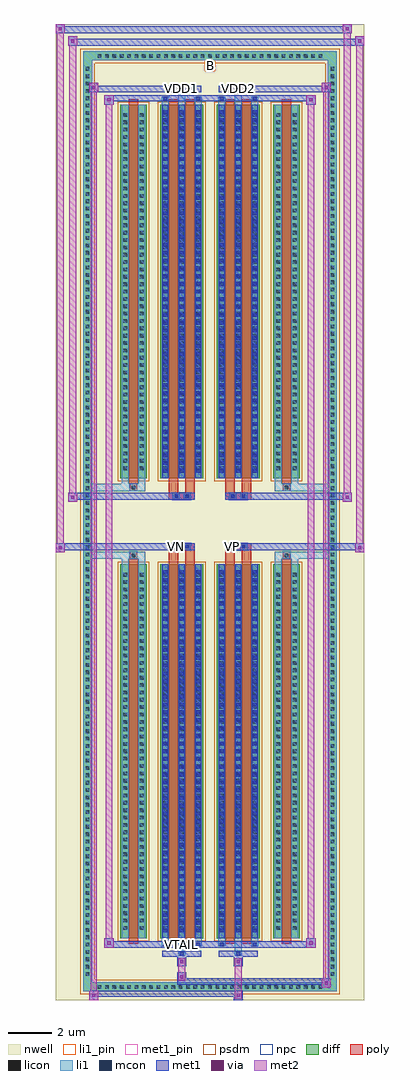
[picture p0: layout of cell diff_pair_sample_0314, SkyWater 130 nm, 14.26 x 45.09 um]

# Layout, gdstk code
import gdstk
lib = gdstk.Library(unit=1e-6, precision=5e-09)
def R(c, l, rs):  # rectangles x0, y0, x1, y1
    for r in rs: c.add(gdstk.rectangle(r[:2], r[2:], *l))
def A(c, l, x, y, w, h, nx, ny, dx, dy):  # array of equal rectangles
    R(c, l, [(x+i*dx, y+j*dy, x+i*dx+w, y+j*dy+h) for i in range(nx) for j in range(ny)])
def P(c, l, *ps):  # polygons
    for p in ps: c.add(gdstk.Polygon(p, *l))
nwell = (64, 20)
diff = (65, 20)
poly = (66, 20)
licon = (66, 44)
li1_pin = (67, 16)
li1 = (67, 20)
mcon = (67, 44)
met1_pin = (68, 16)
met1 = (68, 20)
via = (68, 44)
met2 = (69, 20)
psdm = (94, 20)
npc = (95, 20)

diff_pair_sample_0314 = lib.new_cell('diff_pair_sample_0314')
R(diff_pair_sample_0314, nwell, [(-7.13,-22.11,7.13,22.98), (-4.45,-20.3,-0.01,-0.8), (0.01,-20.3,4.45,-0.8), (-4.45,0.8,-0.01,20.3), (0.01,0.8,4.45,20.3)])
A(diff_pair_sample_0314, diff, -5.305, -21.71, 0.41, 0.41, 31, 2, 0.34, 43.01)
A(diff_pair_sample_0314, diff, -5.86, -21.115, 0.41, 0.41, 1, 124, 0, 0.34)
A(diff_pair_sample_0314, diff, 5.45, -21.115, 0.41, 0.41, 1, 124, 0, 0.34)
R(diff_pair_sample_0314, diff, [(-5.305,-21.71,5.305,-21.3), (-5.86,-21.115,-5.45,21.115), (5.45,-21.115,5.86,21.115), (-4.14,-19.255,-2.93,-1.985), (-2.29,-19.255,-0.32,-1.985), (0.32,-19.255,2.29,-1.985), (2.93,-19.255,4.14,-1.985), (-4.14,1.985,-2.93,19.255), (-2.29,1.985,-0.32,19.255), (0.32,1.985,2.29,19.255), (2.93,1.985,4.14,19.255), (-5.305,21.3,5.305,21.71)])
P(diff_pair_sample_0314, diff, [(5.86,21.71),(-5.86,21.71),(-5.86,-21.3),(-5.45,-21.3),(-5.45,21.3),(5.45,21.3),(5.45,-21.3),(-5.45,-21.3),(-5.86,-21.3),(-5.86,-21.71),(5.86,-21.71)])
R(diff_pair_sample_0314, poly, [(-3.75,-19.505,-3.32,-1.735), (-1.9,-19.505,-1.47,-1.735), (-1.14,-19.505,-0.71,-1.735), (0.71,-19.505,1.14,-1.735), (1.47,-19.505,1.9,-1.735), (3.32,-19.505,3.75,-1.735), (-3.7,-1.735,-3.37,-1.405), (-3.7,-1.735,-3.37,-1.405), (-1.9,-1.735,-1.47,-1.33), (-1.14,-1.735,-0.71,-1.33), (0.71,-1.735,1.14,-1.33), (1.47,-1.735,1.9,-1.33), (3.37,-1.735,3.7,-1.405), (3.37,-1.735,3.7,-1.405), (-1.9,-1.33,-0.71,-1), (-1.72,-1.33,-1.39,-1), (-1.22,-1.33,-0.89,-1), (0.71,-1.33,1.9,-1), (0.89,-1.33,1.22,-1), (1.39,-1.33,1.72,-1), (-1.9,1,-0.71,1.33), (-1.72,1,-1.39,1.33), (-1.22,1,-0.89,1.33), (0.71,1,1.9,1.33), (0.89,1,1.22,1.33), (1.39,1,1.72,1.33), (-1.9,1.33,-1.47,1.735), (-1.14,1.33,-0.71,1.735), (0.71,1.33,1.14,1.735), (1.47,1.33,1.9,1.735), (-3.7,1.405,-3.37,1.735), (-3.7,1.405,-3.37,1.735), (3.37,1.405,3.7,1.735), (3.37,1.405,3.7,1.735), (-3.75,1.735,-3.32,19.505), (-1.9,1.735,-1.47,19.505), (-1.14,1.735,-0.71,19.505), (0.71,1.735,1.14,19.505), (1.47,1.735,1.9,19.505), (3.32,1.735,3.75,19.505)])
A(diff_pair_sample_0314, licon, -5.185, -21.59, 0.17, 0.17, 31, 2, 0.34, 43.01)
A(diff_pair_sample_0314, licon, -5.74, -20.995, 0.17, 0.17, 1, 124, 0, 0.34)
A(diff_pair_sample_0314, licon, 5.57, -20.995, 0.17, 0.17, 1, 124, 0, 0.34)
A(diff_pair_sample_0314, licon, -4, -18.865, 0.17, 0.17, 1, 49, 0, 0.34)
A(diff_pair_sample_0314, licon, -3.24, -18.865, 0.17, 0.17, 1, 49, 0, 0.34)
A(diff_pair_sample_0314, licon, -2.15, -18.865, 0.17, 0.17, 3, 49, 0.76, 0.34)
A(diff_pair_sample_0314, licon, 0.46, -18.865, 0.17, 0.17, 3, 49, 0.76, 0.34)
A(diff_pair_sample_0314, licon, 3.07, -18.865, 0.17, 0.17, 1, 49, 0, 0.34)
A(diff_pair_sample_0314, licon, 3.83, -18.865, 0.17, 0.17, 1, 49, 0, 0.34)
A(diff_pair_sample_0314, licon, -4, 2.375, 0.17, 0.17, 1, 49, 0, 0.34)
A(diff_pair_sample_0314, licon, -3.24, 2.375, 0.17, 0.17, 1, 49, 0, 0.34)
A(diff_pair_sample_0314, licon, -2.15, 2.375, 0.17, 0.17, 3, 49, 0.76, 0.34)
A(diff_pair_sample_0314, licon, 0.46, 2.375, 0.17, 0.17, 3, 49, 0.76, 0.34)
A(diff_pair_sample_0314, licon, 3.07, 2.375, 0.17, 0.17, 1, 49, 0, 0.34)
A(diff_pair_sample_0314, licon, 3.83, 2.375, 0.17, 0.17, 1, 49, 0, 0.34)
R(diff_pair_sample_0314, licon, [(-3.62,-1.655,-3.45,-1.485), (3.45,-1.655,3.62,-1.485), (-1.64,-1.25,-1.47,-1.08), (-1.14,-1.25,-0.97,-1.08), (0.97,-1.25,1.14,-1.08), (1.47,-1.25,1.64,-1.08), (-1.64,1.08,-1.47,1.25), (-1.14,1.08,-0.97,1.25), (0.97,1.08,1.14,1.25), (1.47,1.08,1.64,1.25), (-3.62,1.485,-3.45,1.655), (3.45,1.485,3.62,1.655)])
R(diff_pair_sample_0314, li1_pin, [(-0.25,20.8,0.25,21.3)])
A(diff_pair_sample_0314, li1, -5.265, -21.67, 0.33, 0.33, 31, 2, 0.34, 43.01)
A(diff_pair_sample_0314, li1, -5.82, -21.075, 0.33, 0.33, 1, 124, 0, 0.34)
A(diff_pair_sample_0314, li1, 5.49, -21.075, 0.33, 0.33, 1, 124, 0, 0.34)
A(diff_pair_sample_0314, li1, -2.23, -19.255, 0.33, 17.27, 3, 2, 0.76, 21.24)
A(diff_pair_sample_0314, li1, 0.38, -19.255, 0.33, 17.27, 3, 2, 0.76, 21.24)
A(diff_pair_sample_0314, li1, -2.15, -18.985, 0.17, 0.17, 3, 47, 0.76, 0.36)
A(diff_pair_sample_0314, li1, -2.15, -18.985, 0.17, 16.73, 3, 2, 0.76, 21.24)
A(diff_pair_sample_0314, li1, 0.46, -18.985, 0.17, 0.17, 3, 47, 0.76, 0.36)
A(diff_pair_sample_0314, li1, 0.46, -18.985, 0.17, 16.73, 3, 2, 0.76, 21.24)
A(diff_pair_sample_0314, li1, -4.08, -18.945, 0.33, 0.33, 1, 49, 0, 0.34)
A(diff_pair_sample_0314, li1, -3.32, -18.945, 0.33, 0.33, 1, 49, 0, 0.34)
A(diff_pair_sample_0314, li1, -2.23, -18.945, 0.33, 0.33, 3, 49, 0.76, 0.34)
A(diff_pair_sample_0314, li1, 0.38, -18.945, 0.33, 0.33, 3, 49, 0.76, 0.34)
A(diff_pair_sample_0314, li1, 2.99, -18.945, 0.33, 0.33, 1, 49, 0, 0.34)
A(diff_pair_sample_0314, li1, 3.75, -18.945, 0.33, 0.33, 1, 49, 0, 0.34)
A(diff_pair_sample_0314, li1, -2.15, 2.255, 0.17, 0.17, 3, 47, 0.76, 0.36)
A(diff_pair_sample_0314, li1, 0.46, 2.255, 0.17, 0.17, 3, 47, 0.76, 0.36)
A(diff_pair_sample_0314, li1, -4.08, 2.295, 0.33, 0.33, 1, 49, 0, 0.34)
A(diff_pair_sample_0314, li1, -3.32, 2.295, 0.33, 0.33, 1, 49, 0, 0.34)
A(diff_pair_sample_0314, li1, -2.23, 2.295, 0.33, 0.33, 3, 49, 0.76, 0.34)
A(diff_pair_sample_0314, li1, 0.38, 2.295, 0.33, 0.33, 3, 49, 0.76, 0.34)
A(diff_pair_sample_0314, li1, 2.99, 2.295, 0.33, 0.33, 1, 49, 0, 0.34)
A(diff_pair_sample_0314, li1, 3.75, 2.295, 0.33, 0.33, 1, 49, 0, 0.34)
R(diff_pair_sample_0314, li1, [(-5.86,-21.71,-5.45,-21.3), (-5.86,-21.71,-5.45,-21.3), (-5.45,-21.71,5.45,-21.3), (5.45,-21.71,5.86,-21.3), (5.45,-21.71,5.86,-21.3), (-5.86,-21.3,-5.45,21.3), (5.45,-21.3,5.86,21.3), (-1.47,-20.06,-1.14,-19.255), (-1.39,-20.06,-1.22,-19.89), (1.14,-20.06,1.47,-19.255), (1.22,-20.06,1.39,-19.89), (-2.23,-19.63,-1.9,-19.255), (-2.15,-19.63,-1.98,-19.46), (-0.71,-19.63,-0.38,-19.255), (-0.63,-19.63,-0.46,-19.46), (0.38,-19.63,0.71,-19.255), (0.46,-19.63,0.63,-19.46), (1.9,-19.63,2.23,-19.255), (1.98,-19.63,2.15,-19.46), (-4.08,-19.255,-3.75,-1.985), (-3.32,-19.255,-2.99,-1.985), (2.99,-19.255,3.32,-1.985), (3.75,-19.255,4.08,-1.985), (-4.08,-1.985,-3.75,-1.405), (-3.32,-1.985,-2.99,-1.405), (2.99,-1.985,3.32,-1.405), (3.75,-1.985,4.08,-1.405), (-5.86,-1.735,-3.7,-1.405), (-4.08,-1.735,-3.7,-1.405), (-3.7,-1.735,-3.37,-1.405), (-3.37,-1.735,-2.99,-1.405), (2.99,-1.735,3.37,-1.405), (3.37,-1.735,3.7,-1.405), (3.37,-1.735,5.86,-1.405), (3.7,-1.735,4.08,-1.405), (-1.72,-1.33,-1.39,-1), (-1.22,-1.33,-0.89,-1), (0.89,-1.33,1.22,-1), (1.39,-1.33,1.72,-1), (-1.72,1,-1.39,1.33), (-1.22,1,-0.89,1.33), (0.89,1,1.22,1.33), (1.39,1,1.72,1.33), (-5.86,1.405,-3.7,1.735), (-4.08,1.405,-3.7,1.735), (-4.08,1.405,-3.75,1.985), (-3.7,1.405,-3.37,1.735), (-3.37,1.405,-2.99,1.735), (-3.32,1.405,-2.99,1.985), (2.99,1.405,3.37,1.735), (2.99,1.405,3.32,1.985), (3.37,1.405,3.7,1.735), (3.37,1.405,5.86,1.735), (3.7,1.405,4.08,1.735), (3.75,1.405,4.08,1.985), (-4.08,1.985,-3.75,19.255), (-3.32,1.985,-2.99,19.255), (2.99,1.985,3.32,19.255), (3.75,1.985,4.08,19.255), (-2.23,19.255,-1.9,19.63), (-1.47,19.255,-1.14,20.06), (-0.71,19.255,-0.38,19.63), (0.38,19.255,0.71,19.63), (1.14,19.255,1.47,20.06), (1.9,19.255,2.23,19.63), (-2.15,19.46,-1.98,19.63), (-0.63,19.46,-0.46,19.63), (0.46,19.46,0.63,19.63), (1.98,19.46,2.15,19.63), (-1.39,19.89,-1.22,20.06), (1.22,19.89,1.39,20.06), (-5.86,21.3,-5.45,21.71), (-5.86,21.3,-5.45,21.71), (-5.45,21.3,5.45,21.71), (5.45,21.3,5.86,21.71), (5.45,21.3,5.86,21.71)])
A(diff_pair_sample_0314, mcon, -2.15, -18.985, 0.17, 0.17, 3, 47, 0.76, 0.36)
A(diff_pair_sample_0314, mcon, 0.46, -18.985, 0.17, 0.17, 3, 47, 0.76, 0.36)
A(diff_pair_sample_0314, mcon, -2.15, 2.255, 0.17, 0.17, 3, 47, 0.76, 0.36)
A(diff_pair_sample_0314, mcon, 0.46, 2.255, 0.17, 0.17, 3, 47, 0.76, 0.36)
R(diff_pair_sample_0314, mcon, [(-1.39,-20.06,-1.22,-19.89), (1.22,-20.06,1.39,-19.89), (-2.15,-19.63,-1.98,-19.46), (-0.63,-19.63,-0.46,-19.46), (0.46,-19.63,0.63,-19.46), (1.98,-19.63,2.15,-19.46), (-1.64,-1.25,-1.47,-1.08), (-1.14,-1.25,-0.97,-1.08), (0.97,-1.25,1.14,-1.08), (1.47,-1.25,1.64,-1.08), (-1.64,1.08,-1.47,1.25), (-1.14,1.08,-0.97,1.25), (0.97,1.08,1.14,1.25), (1.47,1.08,1.64,1.25), (-2.15,19.46,-1.98,19.63), (-0.63,19.46,-0.46,19.63), (0.46,19.46,0.63,19.63), (1.98,19.46,2.15,19.63), (-1.39,19.89,-1.22,20.06), (1.22,19.89,1.39,20.06)])
R(diff_pair_sample_0314, met1_pin, [(-1.44,-19.67,-1.17,-19.4), (-1.69,-1.29,-1.42,-1.02), (0.92,-1.29,1.19,-1.02), (-1.44,19.85,-1.17,20.12), (1.17,19.85,1.44,20.12)])
A(diff_pair_sample_0314, met1, -2.21, -19.255, 0.29, 17.27, 3, 2, 0.76, 21.24)
A(diff_pair_sample_0314, met1, 0.4, -19.255, 0.29, 17.27, 3, 2, 0.76, 21.24)
A(diff_pair_sample_0314, met1, -2.21, -19.045, 0.29, 0.29, 3, 47, 0.76, 0.36)
A(diff_pair_sample_0314, met1, 0.4, -19.045, 0.29, 0.29, 3, 47, 0.76, 0.36)
A(diff_pair_sample_0314, met1, -2.21, 2.195, 0.29, 0.29, 3, 47, 0.76, 0.36)
A(diff_pair_sample_0314, met1, 0.4, 2.195, 0.29, 0.29, 3, 47, 0.76, 0.36)
R(diff_pair_sample_0314, met1, [(-5.59,-22.11,-5.16,-21.68), (1.09,-22.11,1.52,-21.68), (-5.59,-21.97,1.52,-21.68), (5.16,-21.54,5.59,-21.11), (-1.52,-21.4,5.59,-21.11), (-1.52,-21.26,-1.09,-20.83), (-1.52,-20.55,-1.09,-20.12), (1.09,-20.55,1.52,-20.12), (-2.21,-20.12,-0.4,-19.83), (-1.45,-20.12,-1.16,-19.83), (0.4,-20.12,2.21,-19.83), (1.16,-20.12,1.45,-19.83), (-4.88,-19.69,-4.45,-19.26), (-4.88,-19.69,-2.21,-19.4), (-2.21,-19.69,-1.92,-19.4), (-2.21,-19.69,-0.4,-19.4), (-0.69,-19.69,-0.4,-19.4), (-0.4,-19.69,0.4,-19.4), (0.4,-19.69,0.69,-19.4), (0.4,-19.69,2.21,-19.4), (1.92,-19.69,2.21,-19.4), (2.21,-19.69,4.88,-19.4), (4.45,-19.69,4.88,-19.26), (-7.13,-1.43,-6.7,-1), (6.7,-1.43,7.13,-1), (-7.13,-1.33,-0.71,-1), (-1.9,-1.33,-0.71,-1), (0.71,-1.33,1.9,-1), (0.71,-1.33,7.13,-1), (-1.7,-1.31,-1.41,-1.02), (-1.2,-1.31,-0.91,-1.02), (0.91,-1.31,1.2,-1.02), (1.41,-1.31,1.7,-1.02), (-6.56,0.9,-6.13,1.33), (6.13,0.9,6.56,1.33), (-6.56,1,-1.9,1.33), (-1.9,1,-0.71,1.33), (0.71,1,1.9,1.33), (1.9,1,6.56,1.33), (-1.7,1.02,-1.41,1.31), (-1.2,1.02,-0.91,1.31), (0.91,1.02,1.2,1.31), (1.41,1.02,1.7,1.31), (-4.88,19.26,-4.45,19.69), (4.45,19.26,4.88,19.69), (-4.88,19.4,-2.21,19.69), (-2.21,19.4,-1.92,19.69), (-2.21,19.4,-0.4,19.69), (-0.69,19.4,-0.4,19.69), (-0.4,19.4,0.4,19.69), (0.4,19.4,0.69,19.69), (0.4,19.4,2.21,19.69), (1.92,19.4,2.21,19.69), (2.21,19.4,4.88,19.69), (-5.59,19.83,-5.16,20.26), (-5.59,19.83,-2.21,20.12), (-2.21,19.83,-0.4,20.12), (-1.45,19.83,-1.16,20.12), (0.4,19.83,2.21,20.12), (1.16,19.83,1.45,20.12), (2.21,19.83,5.59,20.12), (5.16,19.83,5.59,20.26), (-6.56,21.98,-6.13,22.41), (-6.56,21.98,-4.45,22.31), (-4.45,21.98,4.45,22.31), (4.45,21.98,7.13,22.31), (6.7,21.98,7.13,22.41), (-7.13,22.55,-6.7,22.98), (-7.13,22.55,-4.45,22.88), (-4.45,22.55,4.45,22.88), (4.45,22.55,6.56,22.88), (6.13,22.55,6.56,22.98)])
R(diff_pair_sample_0314, via, [(-5.45,-21.97,-5.3,-21.82), (1.23,-21.97,1.38,-21.82), (5.3,-21.4,5.45,-21.25), (-1.38,-21.12,-1.23,-20.97), (-1.38,-20.41,-1.23,-20.26), (1.23,-20.41,1.38,-20.26), (-4.74,-19.55,-4.59,-19.4), (4.59,-19.55,4.74,-19.4), (-6.99,-1.29,-6.84,-1.14), (6.84,-1.29,6.99,-1.14), (-6.42,1.04,-6.27,1.19), (6.27,1.04,6.42,1.19), (-4.74,19.4,-4.59,19.55), (4.59,19.4,4.74,19.55), (-5.45,19.97,-5.3,20.12), (5.3,19.97,5.45,20.12), (-6.42,22.12,-6.27,22.27), (6.84,22.12,6.99,22.27), (-6.99,22.69,-6.84,22.84), (6.27,22.69,6.42,22.84)])
R(diff_pair_sample_0314, met2, [(-5.59,-22.11,-5.16,-21.68), (-5.52,-22.11,-5.23,20.26), (-5.23,-22.11,-5.16,-21.68), (-5.54,-22.06,-5.21,-21.73), (1.14,-22.06,1.47,-21.73), (1.14,-21.73,1.47,-20.5), (5.16,-21.54,5.59,-21.11), (5.23,-21.54,5.52,20.26), (5.52,-21.54,5.59,-21.11), (5.21,-21.49,5.54,-21.16), (-1.47,-21.21,-1.14,-20.88), (-1.47,-20.88,-1.14,-20.5), (-1.47,-20.5,-1.14,-20.17), (1.14,-20.5,1.47,-20.17), (-4.88,-19.69,-4.45,-19.26), (-4.81,-19.69,-4.52,19.69), (-4.52,-19.69,-4.45,-19.26), (4.45,-19.69,4.88,-19.26), (4.52,-19.69,4.81,19.69), (4.81,-19.69,4.88,-19.26), (-4.83,-19.64,-4.5,-19.31), (4.5,-19.64,4.83,-19.31), (-7.13,-1.43,-6.7,-1), (-7.08,-1.43,-6.75,22.98), (-6.75,-1.43,-6.7,-1), (6.7,-1.43,7.13,-1), (6.75,-1.43,7.08,22.41), (7.08,-1.43,7.13,-1), (-7.08,-1.38,-6.75,-1.05), (6.75,-1.38,7.08,-1.05), (-6.56,0.9,-6.13,1.33), (-6.51,0.9,-6.18,22.41), (-6.18,0.9,-6.13,1.33), (6.13,0.9,6.56,1.33), (6.18,0.9,6.51,22.98), (6.51,0.9,6.56,1.33), (-6.51,0.95,-6.18,1.28), (6.18,0.95,6.51,1.28), (-4.88,19.26,-4.45,19.69), (-4.52,19.26,-4.45,19.69), (4.45,19.26,4.88,19.69), (4.81,19.26,4.88,19.69), (-4.83,19.31,-4.5,19.64), (4.5,19.31,4.83,19.64), (-5.59,19.83,-5.16,20.26), (-5.23,19.83,-5.16,20.26), (5.16,19.83,5.59,20.26), (5.52,19.83,5.59,20.26), (-5.54,19.88,-5.21,20.21), (5.21,19.88,5.54,20.21), (-6.56,21.98,-6.13,22.41), (-6.18,21.98,-6.13,22.41), (6.7,21.98,7.13,22.41), (7.08,21.98,7.13,22.41), (-6.51,22.03,-6.18,22.36), (6.75,22.03,7.08,22.36), (-7.13,22.55,-6.7,22.98), (-6.75,22.55,-6.7,22.98), (6.13,22.55,6.56,22.98), (6.51,22.55,6.56,22.98), (-7.08,22.6,-6.75,22.93), (6.18,22.6,6.51,22.93)])
R(diff_pair_sample_0314, psdm, [(-4.27,-19.385,-2.8,-1.855), (-2.42,-19.385,-0.19,-1.855), (0.19,-19.385,2.42,-1.855), (2.8,-19.385,4.27,-1.855), (-4.27,1.855,-2.8,19.385), (-2.42,1.855,-0.19,19.385), (0.19,1.855,2.42,19.385), (2.8,1.855,4.27,19.385)])
P(diff_pair_sample_0314, psdm, [(5.99,21.84),(-5.99,21.84),(-5.99,-21.17),(-5.32,-21.17),(-5.32,21.17),(5.32,21.17),(5.32,-21.17),(-5.32,-21.17),(-5.99,-21.17),(-5.99,-21.84),(5.99,-21.84)])
R(diff_pair_sample_0314, npc, [(-3.72,-1.755,-3.35,-1.385), (3.35,-1.755,3.72,-1.385), (-1.74,-1.35,-1.37,-0.98), (-1.74,-1.35,-0.87,-0.98), (-1.74,-1.35,-0.87,-0.98), (-1.24,-1.35,-0.87,-0.98), (0.87,-1.35,1.24,-0.98), (0.87,-1.35,1.74,-0.98), (0.87,-1.35,1.74,-0.98), (1.37,-1.35,1.74,-0.98), (-1.74,0.98,-1.37,1.35), (-1.74,0.98,-0.87,1.35), (-1.74,0.98,-0.87,1.35), (-1.24,0.98,-0.87,1.35), (0.87,0.98,1.24,1.35), (0.87,0.98,1.74,1.35), (0.87,0.98,1.74,1.35), (1.37,0.98,1.74,1.35), (-3.72,1.385,-3.35,1.755), (3.35,1.385,3.72,1.755)])
diff_pair_sample_0314.add(gdstk.Label('VTAIL', (-1.305,-19.535), layer=68, texttype=5))
diff_pair_sample_0314.add(gdstk.Label('VN', (-1.555,-1.155), layer=68, texttype=5))
diff_pair_sample_0314.add(gdstk.Label('VP', (1.055,-1.155), layer=68, texttype=5))
diff_pair_sample_0314.add(gdstk.Label('B', (0,21.05), layer=67, texttype=5))
diff_pair_sample_0314.add(gdstk.Label('VDD2', (1.305,19.985), layer=68, texttype=5))
diff_pair_sample_0314.add(gdstk.Label('VDD1', (-1.305,19.985), layer=68, texttype=5))

lib.write_gds('diff_pair_sample_0314.gds')
